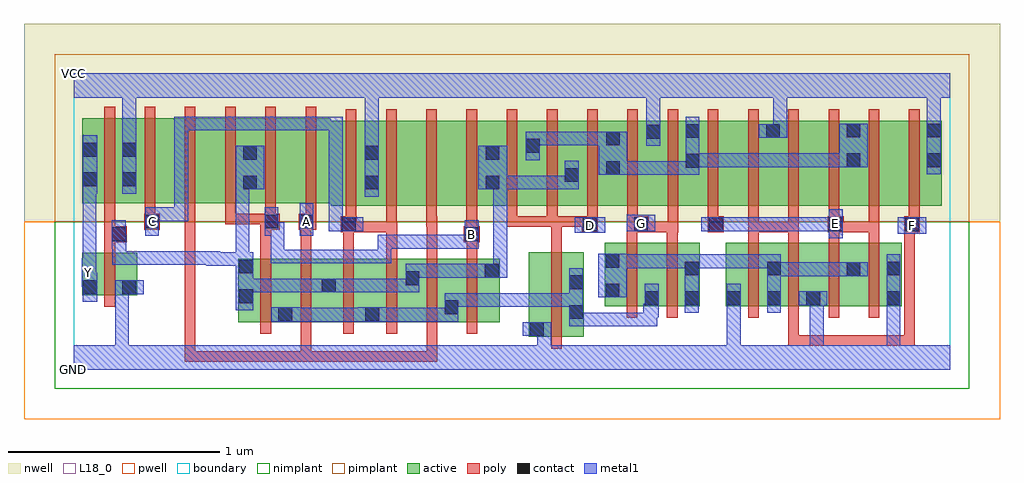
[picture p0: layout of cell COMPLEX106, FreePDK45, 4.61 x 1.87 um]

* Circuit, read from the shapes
.subckt COMPLEX106 A B C D E F G GND VCC Y
M1 GND n1 Y VSUBS nfet w=0.2u l=0.05u
M2 n2 B n1 VSUBS nfet w=0.3u l=0.05u m=2
M3 n1 A n2 VSUBS nfet w=0.3u l=0.05u m=2
M4 n2 C n1 VSUBS nfet w=0.3u l=0.05u m=2
M5 n2 D GND VSUBS nfet w=0.4u l=0.05u
M6 n2 G n3 VSUBS nfet w=0.3u l=0.05u m=2
M7 n3 F GND VSUBS nfet w=0.3u l=0.05u m=2
M8 n3 E GND VSUBS nfet w=0.3u l=0.05u m=2
M9 VCC n1 Y n4 pfet w=0.4u l=0.05u
M10 n5 C VCC n4 pfet w=0.4u l=0.05u
M11 n6 A n5 n4 pfet w=0.4u l=0.05u
M12 n1 B n6 n4 pfet w=0.4u l=0.05u
M13 n7 B n1 n4 pfet w=0.4u l=0.05u
M14 n8 A n7 n4 pfet w=0.4u l=0.05u
M15 VCC C n8 n4 pfet w=0.4u l=0.05u
M16 n9 C VCC n4 pfet w=0.4u l=0.05u
M17 n10 A n9 n4 pfet w=0.4u l=0.05u
M18 n1 B n10 n4 pfet w=0.4u l=0.05u
M19 n11 D n1 n4 pfet w=0.4u l=0.05u m=3
M20 VCC G n11 n4 pfet w=0.4u l=0.05u m=2
M21 n12 E n11 n4 pfet w=0.4u l=0.05u
M22 VCC F n12 n4 pfet w=0.4u l=0.05u
M23 n13 F VCC n4 pfet w=0.4u l=0.05u
M24 n11 E n13 n4 pfet w=0.4u l=0.05u
M25 n14 E n11 n4 pfet w=0.4u l=0.05u
M26 VCC F n14 n4 pfet w=0.4u l=0.05u
.ends

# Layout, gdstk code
import gdstk
lib = gdstk.Library(unit=1e-6, precision=1e-09)
def R(c, l, rs):  # rectangles x0, y0, x1, y1
    for r in rs: c.add(gdstk.rectangle(r[:2], r[2:], *l))
def A(c, l, x, y, w, h, nx, ny, dx, dy):  # array of equal rectangles
    R(c, l, [(x+i*dx, y+j*dy, x+i*dx+w, y+j*dy+h) for i in range(nx) for j in range(ny)])
active = (1, 0)
pwell = (2, 0)
nwell = (3, 0)
nimplant = (4, 0)
pimplant = (5, 0)
poly = (9, 0)
contact = (10, 0)
metal1 = (11, 0)
L18_0 = (18, 0)
boundary = (235, 0)

complex106 = lib.new_cell('COMPLEX106')
A(complex106, active, 2.885, 0.775, 0.23, 0.4, 3, 1, 0.38, 0)
A(complex106, active, 3.115, 0.775, 0.225, 0.4, 3, 1, 0.38, 0)
R(complex106, active, [(2.15,0.155,2.41,0.555), (2.15,0.155,2.225,0.555), (2.335,0.2,2.41,0.555), (0.777,0.225,0.852,0.525), (0.777,0.225,1.037,0.525), (0.962,0.225,1.242,0.525), (0.962,0.225,1.037,0.437), (1.167,0.225,1.447,0.525), (1.372,0.225,1.637,0.525), (1.372,0.225,1.447,0.517), (1.562,0.225,1.822,0.525), (1.747,0.225,2.012,0.525), (1.747,0.225,1.822,0.405), (2.507,0.3,2.767,0.6), (2.692,0.3,2.957,0.6), (2.692,0.3,2.767,0.392), (2.882,0.3,2.957,0.6), (3.08,0.3,3.155,0.6), (3.08,0.3,3.345,0.6), (3.27,0.3,3.345,0.6), (3.27,0.3,3.53,0.6), (3.455,0.3,3.72,0.6), (3.455,0.3,3.53,0.437), (3.645,0.3,3.91,0.6), (3.645,0.3,3.72,0.517), (3.835,0.3,3.91,0.6), (1.167,0.33,1.242,0.435), (1.562,0.33,1.637,0.47), (1.937,0.33,2.012,0.525), (2.507,0.33,2.582,0.6), (0.04,0.352,0.115,0.552), (0.04,0.352,0.3,0.552), (0.225,0.352,0.3,0.552), (1.215,0.775,1.445,1.175), (1.37,0.775,1.445,1.175), (1.37,0.775,1.595,1.175), (1.595,0.775,1.785,1.175), (1.785,0.775,2.015,1.175), (1.94,0.775,2.205,1.175), (1.94,0.775,2.015,1.155), (2.13,0.775,2.39,1.175), (2.13,0.775,2.205,1.155), (2.315,0.775,2.585,1.175), (2.315,0.775,2.39,1.07), (2.51,0.775,2.585,1.175), (2.51,0.775,2.775,1.175), (2.7,0.775,2.96,1.175), (2.7,0.775,2.775,1.175), (2.885,0.775,2.96,1.175), (3.265,0.775,3.34,1.175), (3.645,0.775,3.72,1.167), (4.025,0.775,4.1,1.175), (0.04,0.787,0.3,1.187), (0.04,0.787,0.115,1.165), (0.225,0.787,0.3,1.187), (0.225,0.787,0.455,1.187), (0.455,0.787,0.645,1.187), (0.645,0.787,0.87,1.187), (0.795,0.787,1.025,1.187), (0.795,0.787,0.87,1.07), (1.025,0.787,1.215,1.187)])
R(complex106, pwell, [(-0.235,-0.235,4.375,0.7)])
R(complex106, nwell, [(-0.235,0.7,4.375,1.635)])
R(complex106, nimplant, [(-0.09,-0.09,4.23,0.7)])
R(complex106, pimplant, [(-0.09,0.7,4.23,1.49)])
A(complex106, poly, 1.477, 0.17, 0.05, 0.41, 3, 1, 0.19, 0)
A(complex106, poly, 3.185, 0.245, 0.05, 0.41, 4, 1, 0.19, 0)
A(complex106, poly, 3.185, 0.605, 0.05, 0.095, 4, 1, 0.19, 0)
A(complex106, poly, 1.285, 0.675, 0.05, 0.095, 3, 1, 0.38, 0)
A(complex106, poly, 2.235, 0.675, 0.05, 0.095, 3, 1, 0.19, 0)
A(complex106, poly, 0.715, 0.687, 0.05, 0.095, 3, 1, 0.19, 0)
A(complex106, poly, 1.285, 0.72, 0.05, 0.51, 15, 1, 0.19, 0)
A(complex106, poly, 0.145, 0.732, 0.05, 0.51, 6, 1, 0.19, 0)
R(complex106, poly, [(0.525,0.037,0.575,0.087), (0.525,0.037,0.575,0.087), (0.525,0.037,0.575,0.087), (0.525,0.037,0.575,0.087), (0.525,0.037,0.575,0.087), (0.525,0.037,0.575,0.087), (0.525,0.037,0.575,0.087), (0.525,0.037,0.575,0.087), (0.525,0.037,0.575,0.087), (0.525,0.037,0.575,0.087), (0.525,0.037,0.575,0.087), (0.525,0.037,0.707,0.087), (0.525,0.037,0.575,0.782), (0.657,0.037,0.707,0.087), (0.657,0.037,0.707,0.087), (0.657,0.037,0.707,0.087), (0.657,0.037,0.98,0.087), (0.93,0.037,0.98,0.087), (0.93,0.037,0.98,0.087), (0.93,0.037,0.98,0.087), (0.93,0.037,1.122,0.087), (1.072,0.037,1.122,0.087), (1.072,0.037,1.122,0.22), (1.072,0.037,1.255,0.087), (1.205,0.037,1.255,0.087), (1.205,0.037,1.255,0.087), (1.205,0.037,1.255,0.087), (1.205,0.037,1.547,0.087), (1.497,0.037,1.547,0.087), (1.497,0.037,1.547,0.087), (1.497,0.037,1.547,0.087), (1.497,0.037,1.717,0.087), (1.667,0.037,1.717,0.087), (1.667,0.037,1.717,0.087), (1.667,0.037,1.717,0.087), (1.667,0.037,1.717,0.22), (2.255,0.1,2.305,0.61), (3.375,0.112,3.425,0.162), (3.375,0.112,3.425,0.162), (3.375,0.112,3.425,0.162), (3.375,0.112,3.557,0.162), (3.375,0.112,3.425,0.295), (3.507,0.112,3.557,0.162), (3.507,0.112,3.77,0.162), (3.72,0.112,3.77,0.162), (3.72,0.112,3.77,0.162), (3.72,0.112,3.77,0.162), (3.72,0.112,3.972,0.162), (3.922,0.112,3.972,0.7), (3.922,0.112,3.972,0.162), (3.922,0.112,3.972,0.162), (3.922,0.112,3.972,0.162), (3.922,0.112,3.972,0.162), (3.922,0.112,3.972,0.162), (3.922,0.112,3.972,0.162), (3.922,0.112,3.972,0.162), (3.922,0.112,3.972,0.162), (3.922,0.112,3.972,0.162), (0.882,0.17,0.932,0.58), (1.072,0.17,1.122,0.58), (1.272,0.17,1.322,0.58), (2.612,0.245,2.662,0.655), (2.802,0.245,2.852,0.655), (0.145,0.297,0.195,0.607), (0.882,0.53,0.932,0.712), (1.072,0.53,1.122,0.712), (1.272,0.53,1.322,0.7), (1.477,0.53,1.527,0.7), (1.667,0.53,1.717,0.725), (1.857,0.53,1.907,0.652), (0.145,0.557,0.195,0.652), (2.255,0.56,2.305,0.725), (0.145,0.602,0.25,0.677), (1.842,0.602,1.917,0.677), (2.612,0.605,2.662,0.7), (2.802,0.605,2.852,0.7), (0.145,0.627,0.195,0.782), (1.855,0.627,1.905,0.77), (1.262,0.65,1.337,0.725), (1.287,0.65,1.525,0.7), (1.475,0.65,1.525,0.7), (1.475,0.65,1.525,0.7), (1.475,0.65,1.525,0.77), (1.475,0.65,1.527,0.7), (2.4,0.65,2.475,0.725), (2.612,0.65,2.717,0.725), (2.667,0.65,2.852,0.7), (2.802,0.65,2.852,0.7), (2.802,0.65,2.852,0.7), (2.802,0.65,2.855,0.7), (2.805,0.65,2.855,0.77), (2.995,0.65,3.07,0.725), (3.185,0.65,3.235,0.7), (3.185,0.65,3.235,0.7), (3.185,0.65,3.235,0.7), (3.185,0.65,3.235,0.77), (3.185,0.65,3.425,0.7), (3.375,0.65,3.425,0.7), (3.375,0.65,3.425,0.77), (3.562,0.65,3.637,0.725), (3.587,0.65,3.637,0.7), (3.587,0.65,3.637,0.7), (3.587,0.65,3.805,0.7), (3.755,0.65,3.805,0.7), (3.755,0.65,3.805,0.77), (3.922,0.65,3.997,0.725), (0.332,0.662,0.407,0.737), (0.882,0.662,0.972,0.737), (1.062,0.662,1.145,0.737), (1.665,0.675,1.717,0.725), (2.045,0.675,2.095,0.725), (2.045,0.675,2.285,0.725), (2.235,0.675,2.285,0.725), (2.235,0.675,2.285,0.725), (2.235,0.675,2.305,0.725), (2.255,0.675,2.45,0.725), (2.4,0.675,2.45,0.725), (2.4,0.675,2.45,0.725), (2.995,0.675,3.045,0.77), (3.565,0.675,3.615,0.77), (3.945,0.675,3.995,0.77), (0.335,0.687,0.385,0.782), (0.715,0.687,0.765,0.737), (0.715,0.687,0.765,0.737), (0.715,0.687,0.765,0.737), (0.715,0.687,0.932,0.737)])
R(complex106, contact, [(2.155,0.16,2.22,0.225), (0.967,0.23,1.032,0.295), (1.377,0.23,1.442,0.295), (2.34,0.24,2.405,0.305), (1.752,0.262,1.817,0.327), (2.697,0.305,2.762,0.37), (2.887,0.305,2.952,0.37), (3.085,0.305,3.15,0.37), (3.275,0.305,3.34,0.37), (3.46,0.305,3.525,0.37), (3.84,0.305,3.905,0.37), (0.782,0.315,0.847,0.38), (2.512,0.342,2.577,0.407), (0.045,0.357,0.11,0.422), (0.23,0.357,0.295,0.422), (1.172,0.365,1.237,0.43), (2.34,0.38,2.405,0.445), (1.567,0.4,1.632,0.465), (1.942,0.435,2.007,0.5), (3.65,0.442,3.715,0.507), (2.887,0.445,2.952,0.51), (3.275,0.445,3.34,0.51), (3.84,0.445,3.905,0.51), (0.782,0.455,0.847,0.52), (2.512,0.482,2.577,0.547), (0.18,0.607,0.245,0.672), (1.847,0.607,1.912,0.672), (1.267,0.655,1.332,0.72), (2.405,0.655,2.47,0.72), (2.647,0.655,2.712,0.72), (3,0.655,3.065,0.72), (3.567,0.655,3.632,0.72), (3.927,0.655,3.992,0.72), (0.337,0.667,0.402,0.732), (0.902,0.667,0.967,0.732), (1.067,0.667,1.132,0.732), (0.8,0.852,0.865,0.917), (1.375,0.852,1.44,0.917), (1.945,0.852,2.01,0.917), (0.045,0.867,0.11,0.932), (0.23,0.867,0.295,0.932), (2.32,0.887,2.385,0.952), (2.515,0.92,2.58,0.985), (2.89,0.955,2.955,1.02), (3.65,0.957,3.715,1.022), (4.03,0.957,4.095,1.022), (0.8,0.992,0.865,1.057), (1.375,0.992,1.44,1.057), (1.945,0.992,2.01,1.057), (0.045,1.007,0.11,1.072), (0.23,1.007,0.295,1.072), (2.135,1.025,2.2,1.09), (2.515,1.06,2.58,1.125), (2.705,1.092,2.77,1.157), (2.89,1.095,2.955,1.16), (3.27,1.095,3.335,1.16), (3.65,1.097,3.715,1.162), (4.03,1.097,4.095,1.162)])
R(complex106, metal1, [(0,0,4.14,0.115), (0.195,0.05,0.26,0.115), (0.195,0.05,0.26,0.115), (0.195,0.05,0.26,0.115), (0.195,0.05,0.26,0.115), (0.195,0.05,0.26,0.115), (0.195,0.05,0.26,0.115), (0.195,0.05,0.26,0.422), (2.19,0.05,2.255,0.115), (2.19,0.05,2.255,0.115), (2.19,0.05,2.255,0.225), (3.085,0.05,3.15,0.335), (3.085,0.05,3.15,0.115), (3.085,0.05,3.15,0.115), (3.477,0.05,3.542,0.115), (3.477,0.05,3.542,0.115), (3.477,0.05,3.542,0.37), (3.84,0.05,3.905,0.335), (3.84,0.05,3.905,0.115), (3.84,0.05,3.905,0.115), (3.84,0.05,3.905,0.115), (3.84,0.05,3.905,0.115), (2.12,0.16,2.255,0.225), (2.34,0.205,2.405,0.48), (2.34,0.205,2.475,0.27), (2.41,0.205,2.475,0.27), (2.41,0.205,2.625,0.27), (2.56,0.205,2.625,0.27), (2.56,0.205,2.755,0.27), (2.69,0.205,2.755,0.312), (0.932,0.227,1.067,0.295), (1.002,0.227,1.122,0.292), (1.057,0.227,1.122,0.292), (1.057,0.227,1.27,0.292), (1.205,0.227,1.27,0.292), (1.205,0.227,1.407,0.292), (1.342,0.227,1.407,0.292), (1.342,0.227,1.407,0.292), (1.342,0.227,1.477,0.295), (1.412,0.227,1.637,0.292), (1.572,0.227,1.637,0.292), (1.572,0.227,1.637,0.292), (1.572,0.227,1.637,0.292), (1.572,0.227,1.775,0.292), (1.71,0.227,1.775,0.292), (1.71,0.227,1.817,0.292), (1.752,0.227,1.817,0.362), (2.69,0.247,2.762,0.312), (2.697,0.247,2.762,0.405), (2.887,0.27,2.952,0.545), (3.085,0.27,3.15,0.335), (3.085,0.27,3.15,0.335), (3.085,0.27,3.15,0.405), (3.275,0.27,3.34,0.545), (3.84,0.27,3.905,0.545), (0.765,0.28,0.847,0.555), (0.782,0.28,0.847,0.345), (0.782,0.28,0.847,0.43), (1.752,0.297,1.912,0.362), (1.847,0.297,1.912,0.362), (1.847,0.297,2.047,0.362), (1.982,0.297,2.047,0.362), (1.982,0.297,2.147,0.362), (2.082,0.297,2.147,0.362), (2.082,0.297,2.185,0.362), (2.12,0.297,2.185,0.362), (2.12,0.297,2.285,0.362), (2.22,0.297,2.285,0.362), (2.22,0.297,2.405,0.362), (3.425,0.305,3.56,0.37), (3.477,0.305,3.542,0.37), (3.477,0.305,3.542,0.37), (0.042,0.322,0.11,0.457), (2.477,0.342,2.612,0.547), (0.195,0.357,0.33,0.422), (0.782,0.365,0.985,0.43), (0.92,0.365,0.985,0.43), (0.92,0.365,0.985,0.43), (0.92,0.365,0.985,0.43), (0.92,0.365,1.165,0.43), (1.1,0.365,1.165,0.43), (1.1,0.365,1.202,0.43), (1.137,0.365,1.272,0.43), (1.207,0.365,1.317,0.43), (1.252,0.365,1.317,0.43), (1.252,0.365,1.495,0.43), (1.43,0.365,1.495,0.43), (1.43,0.365,1.632,0.43), (1.567,0.365,1.632,0.43), (1.567,0.365,1.632,0.43), (1.567,0.365,1.632,0.5), (0.037,0.392,0.107,0.527), (0.042,0.392,0.107,0.457), (1.567,0.435,1.775,0.5), (1.71,0.435,1.775,0.5), (1.71,0.435,1.775,0.5), (1.71,0.435,1.775,0.5), (1.71,0.435,1.912,0.5), (1.847,0.435,1.912,0.5), (1.847,0.435,1.972,0.5), (1.907,0.435,2.042,0.5), (1.977,0.435,2.042,0.5), (1.977,0.435,2.047,0.5), (1.982,0.435,2.047,0.917), (3.275,0.442,3.495,0.507), (3.43,0.442,3.495,0.507), (3.43,0.442,3.495,0.507), (3.43,0.442,3.495,0.507), (3.43,0.442,3.68,0.507), (3.615,0.442,3.68,0.507), (3.615,0.442,3.68,0.507), (3.615,0.442,3.75,0.507), (0.042,0.462,0.107,0.897), (2.547,0.48,2.612,0.545), (2.547,0.48,2.612,0.545), (2.547,0.48,2.815,0.545), (2.75,0.48,2.815,0.545), (2.75,0.48,2.892,0.545), (2.827,0.48,2.892,0.545), (2.827,0.48,2.952,0.545), (2.887,0.48,3.092,0.545), (3.027,0.48,3.092,0.545), (3.027,0.48,3.092,0.545), (3.027,0.48,3.092,0.545), (3.027,0.48,3.34,0.545), (3.275,0.48,3.34,0.545), (3.275,0.48,3.34,0.545), (0.627,0.49,0.692,0.555), (0.627,0.49,0.692,0.555), (0.627,0.49,0.83,0.555), (0.627,0.49,0.692,0.56), (0.765,0.49,0.83,0.555), (0.765,0.49,0.83,0.555), (0.765,0.49,0.83,0.555), (0.765,0.49,0.83,0.555), (0.765,0.49,0.83,0.917), (0.182,0.495,0.247,0.56), (0.182,0.495,0.385,0.56), (0.182,0.495,0.247,0.637), (0.32,0.495,0.385,0.56), (0.32,0.495,0.385,0.56), (0.32,0.495,0.385,0.56), (0.32,0.495,0.692,0.56), (0.93,0.502,0.995,0.567), (0.93,0.502,1.16,0.567), (0.93,0.502,0.995,0.697), (1.095,0.502,1.16,0.567), (1.095,0.502,1.232,0.567), (1.167,0.502,1.232,0.567), (1.167,0.502,1.495,0.567), (1.43,0.502,1.495,0.567), (1.43,0.502,1.5,0.567), (1.435,0.502,1.5,0.637), (0.18,0.572,0.245,0.637), (0.18,0.572,0.245,0.707), (0.18,0.572,0.247,0.637), (1.435,0.572,1.637,0.637), (1.572,0.572,1.637,0.637), (1.572,0.572,1.637,0.637), (1.572,0.572,1.637,0.637), (1.572,0.572,1.637,0.637), (1.572,0.572,1.637,0.637), (1.572,0.572,1.775,0.637), (1.71,0.572,1.775,0.637), (1.71,0.572,1.775,0.637), (1.71,0.572,1.775,0.637), (1.71,0.572,1.912,0.637), (1.847,0.572,1.912,0.707), (3.567,0.62,3.632,0.757), (0.337,0.632,0.402,0.767), (0.902,0.632,0.967,0.767), (0.902,0.632,0.995,0.697), (0.93,0.632,0.995,0.697), (1.067,0.632,1.132,0.787), (3.892,0.642,4.027,0.72), (2.367,0.647,2.51,0.72), (1.205,0.655,1.27,0.72), (1.205,0.655,1.297,0.72), (1.205,0.655,1.27,1.195), (1.232,0.655,1.367,0.72), (2.612,0.655,2.747,0.732), (2.965,0.655,3.1,0.72), (3.035,0.655,3.1,0.72), (3.035,0.655,3.1,0.72), (3.035,0.655,3.352,0.72), (3.287,0.655,3.352,0.72), (3.287,0.655,3.352,0.72), (3.287,0.655,3.352,0.72), (3.287,0.655,3.495,0.72), (3.43,0.655,3.495,0.72), (3.43,0.655,3.542,0.72), (3.477,0.655,3.542,0.72), (3.477,0.655,3.632,0.72), (0.337,0.702,0.402,0.767), (0.337,0.702,0.402,0.767), (0.337,0.702,0.54,0.767), (0.475,0.702,0.54,0.767), (0.475,0.702,0.54,0.767), (0.475,0.702,0.54,0.767), (0.475,0.702,0.54,0.767), (0.475,0.702,0.54,0.767), (0.475,0.702,0.54,1.195), (1.375,0.817,1.44,1.092), (0.042,0.832,0.11,1.107), (0.23,0.832,0.295,1.107), (0.765,0.852,0.9,1.057), (1.91,0.852,2.047,1.057), (1.982,0.852,2.047,0.917), (1.982,0.852,2.047,0.917), (1.982,0.852,2.117,0.917), (2.052,0.852,2.117,0.917), (2.052,0.852,2.185,0.917), (2.12,0.852,2.185,0.917), (2.12,0.852,2.295,0.917), (2.23,0.852,2.295,0.917), (2.23,0.852,2.385,0.917), (2.32,0.852,2.385,0.987), (2.48,0.92,2.615,1.125), (2.55,0.92,2.615,0.985), (2.55,0.92,2.615,0.985), (2.55,0.92,2.815,0.985), (2.75,0.92,2.815,0.985), (2.75,0.92,2.892,0.985), (2.827,0.92,2.892,0.985), (2.827,0.92,2.955,0.985), (2.89,0.92,2.955,1.195), (4.03,0.922,4.095,1.197), (2.89,0.957,3.162,1.022), (3.097,0.957,3.162,1.022), (3.097,0.957,3.162,1.022), (3.097,0.957,3.162,1.022), (3.097,0.957,3.352,1.022), (3.287,0.957,3.352,1.022), (3.287,0.957,3.352,1.022), (3.287,0.957,3.352,1.022), (3.287,0.957,3.495,1.022), (3.43,0.957,3.495,1.022), (3.43,0.957,3.495,1.022), (3.43,0.957,3.495,1.022), (3.43,0.957,3.68,1.022), (3.615,0.957,3.68,1.022), (3.615,0.957,3.68,1.022), (3.615,0.957,3.75,1.162), (2.135,0.99,2.2,1.125), (1.375,1.027,1.44,1.35), (0.23,1.042,0.295,1.35), (2.705,1.057,2.77,1.192), (2.135,1.06,2.295,1.125), (2.23,1.06,2.295,1.125), (2.23,1.06,2.405,1.125), (2.34,1.06,2.405,1.125), (2.34,1.06,2.432,1.125), (2.367,1.06,2.432,1.125), (2.367,1.06,2.545,1.125), (3.235,1.095,3.37,1.16), (3.305,1.095,3.37,1.35), (2.705,1.127,2.77,1.35), (0.475,1.13,0.54,1.195), (0.475,1.13,0.83,1.195), (0.765,1.13,0.83,1.195), (0.765,1.13,0.83,1.195), (0.765,1.13,0.83,1.195), (0.765,1.13,0.985,1.195), (0.92,1.13,0.985,1.195), (0.92,1.13,0.985,1.195), (0.92,1.13,0.985,1.195), (0.92,1.13,1.16,1.195), (1.095,1.13,1.16,1.195), (1.095,1.13,1.27,1.195), (1.205,1.13,1.27,1.195), (1.205,1.13,1.27,1.195), (1.205,1.13,1.27,1.195), (4.03,1.132,4.095,1.35), (0,1.285,4.14,1.4)])
R(complex106, L18_0, [(0,0,4.14,0.115), (0.195,0.05,0.26,0.115), (0.195,0.05,0.26,0.115), (0.195,0.05,0.26,0.115), (0.195,0.05,0.26,0.115), (0.195,0.05,0.26,0.115), (0.195,0.05,0.26,0.115), (0.195,0.05,0.26,0.422), (2.19,0.05,2.255,0.115), (2.19,0.05,2.255,0.115), (2.19,0.05,2.255,0.225), (3.085,0.05,3.15,0.115), (3.085,0.05,3.15,0.115), (3.085,0.05,3.15,0.335), (3.477,0.05,3.542,0.115), (3.477,0.05,3.542,0.115), (3.477,0.05,3.542,0.37), (3.84,0.05,3.905,0.115), (3.84,0.05,3.905,0.115), (3.84,0.05,3.905,0.115), (3.84,0.05,3.905,0.115), (3.84,0.05,3.905,0.335), (2.12,0.16,2.255,0.225), (3.085,0.27,3.15,0.335), (3.085,0.27,3.15,0.335), (3.085,0.27,3.15,0.405), (3.84,0.27,3.905,0.545), (3.425,0.305,3.56,0.37), (3.477,0.305,3.542,0.37), (3.477,0.305,3.542,0.37), (0.042,0.322,0.11,0.457), (0.195,0.357,0.33,0.422), (0.037,0.392,0.107,0.527), (0.042,0.392,0.107,0.457), (0.037,0.427,0.102,0.492), (0.042,0.462,0.107,0.897), (0.93,0.502,0.995,0.567), (0.93,0.502,0.995,0.697), (0.93,0.502,1.16,0.567), (1.095,0.502,1.16,0.567), (1.095,0.502,1.232,0.567), (1.167,0.502,1.232,0.567), (1.167,0.502,1.495,0.567), (1.43,0.502,1.495,0.567), (1.43,0.502,1.5,0.567), (1.435,0.502,1.5,0.637), (1.435,0.572,1.637,0.637), (1.572,0.572,1.637,0.637), (1.572,0.572,1.637,0.637), (1.572,0.572,1.637,0.637), (1.572,0.572,1.637,0.637), (1.572,0.572,1.637,0.637), (1.572,0.572,1.775,0.637), (1.71,0.572,1.775,0.637), (1.71,0.572,1.775,0.637), (1.71,0.572,1.775,0.637), (1.71,0.572,1.912,0.637), (1.847,0.572,1.912,0.707), (1.847,0.607,1.912,0.672), (3.567,0.62,3.632,0.757), (0.337,0.632,0.402,0.767), (0.902,0.632,0.967,0.767), (0.902,0.632,0.995,0.697), (0.93,0.632,0.995,0.697), (1.067,0.632,1.132,0.787), (3.892,0.642,4.027,0.72), (2.367,0.647,2.51,0.72), (2.407,0.647,2.472,0.712), (3.927,0.647,3.992,0.712), (1.205,0.655,1.27,0.72), (1.205,0.655,1.27,1.195), (1.205,0.655,1.297,0.72), (1.232,0.655,1.367,0.72), (2.612,0.655,2.747,0.732), (2.965,0.655,3.1,0.72), (3.035,0.655,3.1,0.72), (3.035,0.655,3.1,0.72), (3.035,0.655,3.352,0.72), (3.287,0.655,3.352,0.72), (3.287,0.655,3.352,0.72), (3.287,0.655,3.352,0.72), (3.287,0.655,3.495,0.72), (3.43,0.655,3.495,0.72), (3.43,0.655,3.542,0.72), (3.477,0.655,3.542,0.72), (3.477,0.655,3.632,0.72), (2.647,0.657,2.712,0.722), (3.567,0.657,3.632,0.722), (0.337,0.667,0.402,0.732), (1.067,0.667,1.132,0.732), (0.337,0.702,0.402,0.767), (0.337,0.702,0.402,0.767), (0.337,0.702,0.54,0.767), (0.475,0.702,0.54,0.767), (0.475,0.702,0.54,0.767), (0.475,0.702,0.54,0.767), (0.475,0.702,0.54,0.767), (0.475,0.702,0.54,0.767), (0.475,0.702,0.54,1.195), (1.375,0.817,1.44,1.092), (0.042,0.832,0.11,1.107), (0.23,0.832,0.295,1.107), (4.03,0.922,4.095,1.197), (1.375,1.027,1.44,1.35), (0.23,1.042,0.295,1.35), (2.705,1.057,2.77,1.192), (3.235,1.095,3.37,1.16), (3.305,1.095,3.37,1.35), (2.705,1.127,2.77,1.35), (0.475,1.13,0.54,1.195), (0.475,1.13,0.83,1.195), (0.765,1.13,0.83,1.195), (0.765,1.13,0.83,1.195), (0.765,1.13,0.83,1.195), (0.765,1.13,0.985,1.195), (0.92,1.13,0.985,1.195), (0.92,1.13,0.985,1.195), (0.92,1.13,0.985,1.195), (0.92,1.13,1.16,1.195), (1.095,1.13,1.16,1.195), (1.095,1.13,1.27,1.195), (1.205,1.13,1.27,1.195), (1.205,1.13,1.27,1.195), (1.205,1.13,1.27,1.195), (4.03,1.132,4.095,1.35), (0,1.285,4.14,1.4)])
R(complex106, boundary, [(0,0,4.14,1.4)])
complex106.add(gdstk.Label('A', (1.1,0.7), layer=11, texttype=0))
complex106.add(gdstk.Label('B', (1.88,0.64), layer=11, texttype=0))
complex106.add(gdstk.Label('C', (0.37,0.7), layer=11, texttype=0))
complex106.add(gdstk.Label('D', (2.44,0.68), layer=11, texttype=0))
complex106.add(gdstk.Label('E', (3.6,0.69), layer=11, texttype=0))
complex106.add(gdstk.Label('F', (3.96,0.68), layer=11, texttype=0))
complex106.add(gdstk.Label('G', (2.68,0.69), layer=11, texttype=0))
complex106.add(gdstk.Label('Y', (0.07,0.46), layer=11, texttype=0))
complex106.add(gdstk.Label('VCC', (0,1.4), layer=11, texttype=0))
complex106.add(gdstk.Label('GND', (0,0), layer=11, texttype=0))

lib.write_gds('COMPLEX106.gds')
